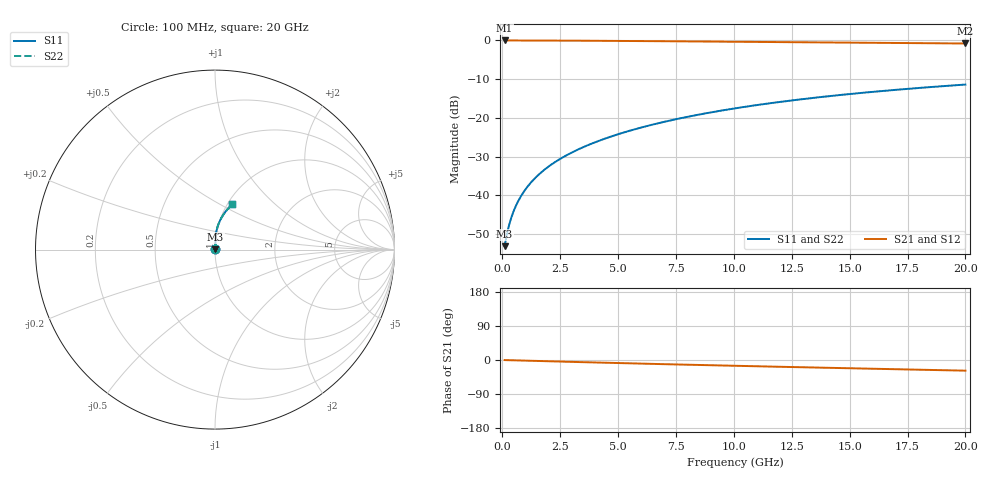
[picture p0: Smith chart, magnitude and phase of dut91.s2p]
! Touchstone file exported from HFSS 2024.1.0
!  File:  C:/UserFiles/LocalFiles/RDL_TSV_Batchsim/temp_RDL_top_91_1778682878.aedt
!  Generated:  10:36:55 PM May 13, 2026
!  Design:  RDL_top
!  Project:  temp_RDL_top_91_1778682878
!  Setup:  Setup1
!  Solution:  Sweep
! Variables:
!  dtsv = 10.80580581um
!  hbump = 3um
!  htsv = 82.87um
!  ldown = 100um
!  lrdl = 380.69um
!  p = 40
!  p1 = 51.19um
!  rhole = 1um
!  t = 450um
!  tdown = 3.915915916um
!  trdl = 3.57um
!  wdown = 15.38538539um
!  wrdl = 24.1um
# GHz S MA R 50.000000
! Terminal data exported
! Port[1] = Box2_T1
! Port[2] = Box2_T2
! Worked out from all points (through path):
!   200 points, 100 MHz to 20 GHz, reference 50 ohm
!   highest |S21| = -0.02 dB at 100 MHz (marker M1); lowest = -0.8 dB at 20 GHz (marker M2)
!   group delay of S21, straight-line fit = 3.86 ps
!   lowest |S11| = -53.1 dB at 100 MHz (marker M3), VSWR 1.00, Z = 50.2 + j0.13 ohm
!   |S11| at or under -10 dB: start of sweep to end of sweep
!   |S22| runs from -53.1 to -11.4 dB; largest |S21 - S12| = 2.1e-15
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0.1  0.002209 36.0  0.9982 -0.2  0.9982 -0.2  0.002209 36.0
! Gamma 0 0 0 0
! Port Impedance 50 0 50 0
0.2  0.00316 53.5  0.9981 -0.3  0.9981 -0.3  0.00316 53.5
0.3  0.004213 62.1  0.998 -0.5  0.998 -0.5  0.004213 62.1
0.4  0.005285 67.3  0.9978 -0.7  0.9978 -0.7  0.005285 67.3
0.5  0.006367 70.9  0.9977 -0.9  0.9977 -0.9  0.006368 70.9
0.6  0.007461 73.6  0.9976 -1.0  0.9976 -1.0  0.007461 73.6
0.8  0.009679 77.3  0.9974 -1.3  0.9974 -1.3  0.00968 77.3
1.1  0.01307 80.6  0.997 -1.8  0.997 -1.8  0.01307 80.6
1.3  0.01537 82.1  0.9967 -2.2  0.9967 -2.2  0.01537 82.1
1.6  0.01885 83.7  0.9962 -2.7  0.9962 -2.7  0.01885 83.7
2.1  0.02475 85.4  0.9951 -3.5  0.9951 -3.5  0.02475 85.4
2.7  0.03199 86.6  0.9935 -4.5  0.9935 -4.5  0.03199 86.6
3.5  0.04194 87.5  0.9909 -5.7  0.9909 -5.7  0.04194 87.5
4.2  0.05091 87.8  0.9882 -6.8  0.9882 -6.8  0.05091 87.7
5  0.06146 87.7  0.9849 -8.1  0.9849 -8.1  0.06146 87.7
6.8  0.08619 86.7  0.9766 -10.7  0.9766 -10.7  0.08618 86.7
8.4  0.1089 85.2  0.9688 -13.0  0.9688 -13.0  0.1089 85.2
10.1  0.1334 83.1  0.9605 -15.4  0.9605 -15.4  0.1334 83.1
11.7  0.1565 80.9  0.9527 -17.5  0.9527 -17.5  0.1565 80.9
13.4  0.1807 78.5  0.9444 -19.8  0.9444 -19.8  0.1807 78.5
16.7  0.2262 73.8  0.9283 -24.0  0.9283 -24.0  0.2262 73.8
20  0.2691 69.1  0.912 -28.1  0.912 -28.1  0.2691 69.1
